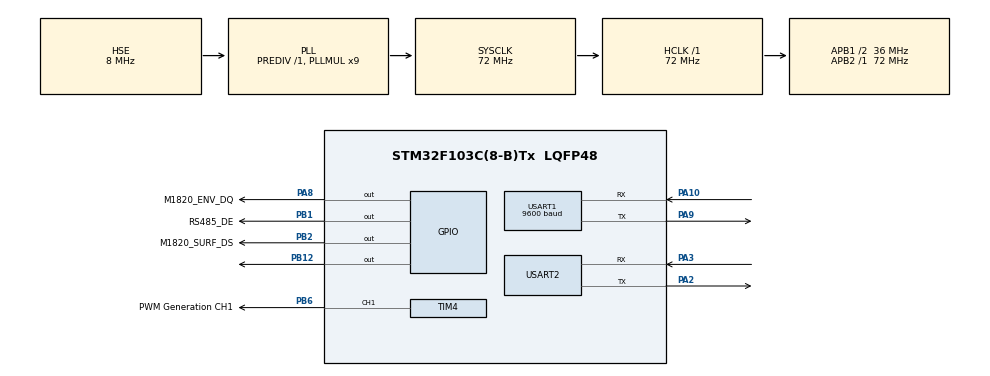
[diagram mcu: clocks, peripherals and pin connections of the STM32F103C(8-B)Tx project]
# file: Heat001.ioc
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Mcu.Family=STM32F1
Mcu.Name=STM32F103C(8-B)Tx
Mcu.Package=LQFP48
NVIC.PriorityGroup=NVIC_PRIORITYGROUP_4
NVIC.TIM2_IRQn=true\:0\:0\:false\:false\:true\:true\:true\:true
NVIC.USART1_IRQn=true\:0\:0\:false\:false\:true\:true\:true\:true
PA10.Mode=Asynchronous
PA10.Signal=USART1_RX
PA13.Mode=Serial_Wire
PA13.Signal=SYS_JTMS-SWDIO
PA14.Mode=Serial_Wire
PA14.Signal=SYS_JTCK-SWCLK
PA2.Mode=Asynchronous
PA2.Signal=USART2_TX
PA3.Mode=Asynchronous
PA3.Signal=USART2_RX
PA8.GPIO_Label=M1820_ENV_DQ
PA8.Signal=GPIO_Output
PA9.Mode=Asynchronous
PA9.Signal=USART1_TX
PB1.GPIO_Label=RS485_DE
PB1.Signal=GPIO_Output
PB12.Signal=GPIO_Output
PB2.GPIO_Label=M1820_SURF_DS
PB2.Signal=GPIO_Output
PB6.GPIO_Label=PWM Generation CH1
PB6.Signal=S_TIM4_CH1
PD0-OSC_IN.Mode=HSE-External-Oscillator
PD0-OSC_IN.Signal=RCC_OSC_IN
PD1-OSC_OUT.Mode=HSE-External-Oscillator
PD1-OSC_OUT.Signal=RCC_OSC_OUT
ProjectManager.HeapSize=0x200
ProjectManager.StackSize=0x400
ProjectManager.TargetToolchain=MDK-ARM V5.32
RCC.AHBFreq_Value=72000000
RCC.APB1CLKDivider=RCC_HCLK_DIV2
RCC.APB1Freq_Value=36000000
RCC.APB1TimFreq_Value=72000000
RCC.APB2Freq_Value=72000000
RCC.APB2TimFreq_Value=72000000
RCC.HCLKFreq_Value=72000000
RCC.PLLMUL=RCC_PLL_MUL9
RCC.PLLSourceVirtual=RCC_PLLSOURCE_HSE
RCC.SYSCLKFreq_VALUE=72000000
RCC.SYSCLKSource=RCC_SYSCLKSOURCE_PLLCLK
RCC.USBFreq_Value=72000000
SH.S_TIM4_CH1.0=TIM4_CH1,PWM Generation1 CH1
TIM2.Prescaler=71
TIM4.Channel-PWM\ Generation1\ CH1=TIM_CHANNEL_1
TIM4.Period=1999
TIM4.Prescaler=71
USART1.BaudRate=9600
USART1.VirtualMode=VM_ASYNC
USART2.VirtualMode=VM_ASYNC
VP_TIM2_VS_ClockSourceINT.Mode=Internal
board=custom

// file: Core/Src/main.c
/* USER CODE BEGIN Header */
/**
  ******************************************************************************
  * @file           : main.c
  * @brief          : Main program body
  ******************************************************************************
  * @attention
  *
  * Copyright (c) 2026 STMicroelectronics.
  * All rights reserved.
  *
  * This software is licensed under terms that can be found in the LICENSE file
  * in the root directory of this software component.
  * If no LICENSE file comes with this software, it is provided AS-IS.
  *
  ******************************************************************************
  */
/* USER CODE END Header */
#include "main.h"
#include "tim.h"
#include "usart.h"
#include "gpio.h"

/* USER CODE BEGIN Includes */
#include "mb.h"
#include "m1820.h"
#include "mbport.h"
#include "modbus_regs.h"
#include <stdio.h>
/* USER CODE END Includes */

/* USER CODE BEGIN PV */
uint8_t g_surf_raw_buf[9] = {0};
uint8_t g_env_raw_buf[9]  = {0};

uint16_t g_surf_debug_enter = 0;   /* 第二路代码进入次数 */
uint16_t g_surf_debug_ok    = 0;   /* 第二路读取成功次数 */
uint16_t g_env_debug_enter  = 0;   /* 第一路代码进入次数 */
uint16_t g_env_debug_ok     = 0;   /* 第一路读取成功次数 */
/* USER CODE END PV */

void SystemClock_Config(void);

/* USER CODE BEGIN 0 */

/* printf 重定向到 USART2（串口2） */
int fputc(int ch, FILE *f)
{
    HAL_UART_Transmit(&huart2, (uint8_t *)&ch, 1, 100);
    return ch;
}
static void Debug_PrintStatus(void)
{
    char tx_buf[128];
    int len;

    len = snprintf(tx_buf, sizeof(tx_buf),
                   "%u,  %d,  %d,  %d,  %d,  %u\r\n",
                   (unsigned int)(HAL_GetTick() / 1000U),
                   (int)(g_env_temp_real * 100.0f),
                   (int)(g_surf_temp_real * 100.0f),
                   (int)(g_pwm_duty_real * 100.0f),
                   (int)(g_heat_out_volt * 100.0f),
                   (unsigned int)g_ctrl_mode_set);

    if (len > 0)
    {
        HAL_UART_Transmit(&huart2, (uint8_t *)tx_buf, (uint16_t)len, 50);
    }
}
/* 浮点限幅函数 */
static float LimitFloat(float value, float min_val, float max_val)
{
    if (value < min_val)
    {
        return min_val;
    }
    if (value > max_val)
    {
        return max_val;
    }
    return value;
}

/* =========================================================
 * 设置加热 PWM 占空比
 * duty_percent（PWM占空比百分比）范围：0~100
 *
 * 当前硬件：
 * - TIM4（定时器4）
 * - TIM_CHANNEL_1（定时器4通道1）
 * - PB6（PWM输出脚）
 *
 * 当前 TIM4 配置：
 * - ARR（自动重装值）= 1999
 * 所以比较值 CCR 范围大致也是 0~1999
 * ========================================================= */
static void Heat_SetPwmDuty(float duty_percent)
{
    uint32_t arr;
    uint32_t compare;

    duty_percent = LimitFloat(duty_percent, 0.0f, 100.0f);

    /* 读取 TIM4 的 ARR（自动重装值） */
    arr = __HAL_TIM_GET_AUTORELOAD(&htim4);

    if (duty_percent <= 0.0f)
    {
        compare = 0;
    }
    else if (duty_percent >= 100.0f)
    {
        compare = arr;
    }
    else
    {
        compare = (uint32_t)((duty_percent * (float)(arr + 1U)) / 100.0f);

        if (compare > arr)
        {
            compare = arr;
        }
    }

    /* 把比较值写入 TIM4_CH1（定时器4通道1） */
    __HAL_TIM_SET_COMPARE(&htim4, TIM_CHANNEL_1, compare);
}

/* =========================================================
 * 控制逻辑任务
 * 说明：
 * 1. 控制模式判断前置
 * 2. 自动模式下才严格依赖探头异常联锁
 * 3. 强制全功率 / 手动PWM 模式下，探头异常仅上报，不强制关断
 * 4. 本版已经把 g_pwm_duty_real（当前实际PWM占空比）
 *    正式下发到 TIM4_CH1（定时器4通道1）硬件输出
 * ========================================================= */
static void Heating_ControlTask(void)
{
    float pwm_cmd = 0.0f;
    float error = 0.0f;

    uint8_t full_power_stage = 0;
    uint8_t regulation_stage = 0;
    uint8_t temp_valid = 0;
    uint8_t output_enable = 0;

    /* -------------------------
     * 1. 先根据当前探头状态判断温度数据是否有效
     * ------------------------- */
    if ((g_env_probe_status == 0U) && (g_surf_probe_status == 0U))
    {
        temp_valid = 1;
    }
    else
    {
        temp_valid = 0;
    }

    /* -------------------------
     * 2. 控制模式判断
     * ------------------------- */
    switch (g_ctrl_mode_set)
    {
        case CTRL_MODE_OFF:   /* 关闭模式 */
        {
            pwm_cmd = 0.0f;
            output_enable = 0;
            break;
        }

        case CTRL_MODE_FORCE_FULL:   /* 强制全功率模式 */
        {
            pwm_cmd = 100.0f;
            output_enable = 1;
            /* 这里只是强制全功率模式，不是自动模式的全功率阶段 */
						full_power_stage = 1;
            break;
        }

        case CTRL_MODE_MANUAL_PWM:   /* 手动PWM模式 */
        {
            pwm_cmd = LimitFloat(g_manual_pwm_set, 0.0f, 100.0f);
            output_enable = (pwm_cmd > 0.0f) ? 1U : 0U;
            break;
        }

        case CTRL_MODE_AUTO:   /* 自动控制模式 */
        default:
        {
            /* 自动模式下，探头异常才参与联锁 */
            if ((g_env_probe_status != 0U) || (g_surf_probe_status != 0U))
            {
                pwm_cmd = 0.0f;
                output_enable = 0;
            }
            else
            {
                /* 环境温度高于等于阈值：不加热 */
                if (g_env_temp_real >= g_env_temp_threshold)
                {
                    pwm_cmd = 0.0f;
                    output_enable = 0;
                }
                else
                {
                    /* 环境温度低于阈值，进入表面温度闭环前的简化控制 */
                    error = g_surf_temp_target - g_surf_temp_real;

                    if (error >= 1.0f)
                    {
                        /* 远低于目标值：全功率快速加热 */
                        pwm_cmd = 100.0f;
                        output_enable = 1;
                        full_power_stage = 1;
                    }
                    else if (error > 0.0f)
                    {
                        /* 接近目标值：简化比例调功 */
                        pwm_cmd =  30.0f + error * 20.0f;   /* 例如差 3℃ -> 30% */
                        pwm_cmd = LimitFloat(pwm_cmd, 0.0f, 100.0f);
                        output_enable = (pwm_cmd > 0.0f) ? 1U : 0U;
                        regulation_stage = (pwm_cmd > 0.0f) ? 1U : 0U;
                    }
                    else
                    {
                        /* 已达到或超过目标值 */
                        pwm_cmd = 0.0f;
                        output_enable = 0;
                    }
                }
            }
            break;
        }
    }

    /* -------------------------
     * 3. 更新运行时实时变量
     * ------------------------- */
    g_pwm_duty_real = LimitFloat(pwm_cmd, 0.0f, 100.0f);
    g_heat_output_status = (g_pwm_duty_real > 0.0f) ? 1U : 0U;

    /* 当前先按 12V 满量程线性估算输出电压 */
    g_heat_out_volt = 12.0f * g_pwm_duty_real / 100.0f;

    /* -------------------------
     * 4. 更新故障字
     * ------------------------- */
    g_fault_word = 0;

    if (g_temp_alarm_en)
    {
        if (g_env_probe_status != 0U)
        {
            g_fault_word |= (1U << 0);   /* ENV_SENSOR_FAULT（环境探头故障） */
        }

        if (g_surf_probe_status != 0U)
        {
            g_fault_word |= (1U << 1);   /* SURFACE_SENSOR_FAULT（表面探头故障） */
        }

        if (!temp_valid)
        {
            g_fault_word |= (1U << 6);   /* TEMP_DATA_INVALID（温度数据无效） */
        }
    }

    /* -------------------------
     * 5. 更新状态字
     * ------------------------- */
    g_status_word = 0;

    g_status_word |= (1U << 0);   /* SYS_RUN（系统运行） */
    g_status_word |= (1U << 6);   /* COMM_OK（通信正常） */

    if (g_ctrl_mode_set == CTRL_MODE_AUTO)
    {
        g_status_word |= (1U << 1);   /* AUTO_MODE（自动控制模式） */
    }

    if (g_ctrl_mode_set == CTRL_MODE_MANUAL_PWM)
    {
        g_status_word |= (1U << 2);   /* MANUAL_PWM_MODE（手动PWM模式） */
    }

    if (full_power_stage)
    {
        g_status_word |= (1U << 3);   /* FULL_POWER_STAGE（全功率阶段） */
    }

    if (regulation_stage)
    {
        g_status_word |= (1U << 4);   /* REGULATION_STAGE（调功阶段） */
    }

    if (g_heat_output_status)
    {
        g_status_word |= (1U << 5);   /* HEAT_OUT（加热输出） */
    }

    if (temp_valid)
    {
        g_status_word |= (1U << 7);   /* TEMP_VALID（温度数据有效） */
    }

    if (g_env_probe_status == 0U)
    {
        g_status_word |= (1U << 8);   /* ENV_SENSOR_ONLINE（环境探头在线） */
    }

    if (g_surf_probe_status == 0U)
    {
        g_status_word |= (1U << 9);   /* SURFACE_SENSOR_ONLINE（表面探头在线） */
    }

    if (output_enable)
    {
        g_status_word |= (1U << 11);  /* OUTPUT_ENABLE（输出允许） */
    }

    /* -------------------------
     * 6. 把 PWM 真正下发到 TIM4_CH1 硬件输出
     * ------------------------- */
    Heat_SetPwmDuty(g_pwm_duty_real);
}

/* USER CODE END 0 */

int main(void)
{

  /* MCU Configuration--------------------------------------------------------*/

  /* Reset of all peripherals, Initializes the Flash interface and the Systick. */
  HAL_Init();

  /* Configure the system clock */
  SystemClock_Config();

  /* Initialize all configured peripherals */
  MX_GPIO_Init();
  MX_TIM2_Init();
  MX_TIM4_Init();
  MX_USART1_UART_Init();
  MX_USART2_UART_Init();
  /* USER CODE BEGIN 2 */
  HAL_UART_Transmit(&huart2, (uint8_t *)"BOOT\r\n", 6, 100);
  /* 启动 TIM4_CH1（定时器4通道1）PWM 输出 */
  HAL_TIM_PWM_Start(&htim4, TIM_CHANNEL_1);

  /* 上电先关输出，避免一启动就误输出 */
  Heat_SetPwmDuty(0.0f);

  Modbus_RegsInit();
  M1820_Init();

  if (eMBInit(MB_RTU, 0x0C, 0, 9600, MB_PAR_NONE) == MB_ENOERR)
  {
      eMBEnable();
  }
  /* USER CODE END 2 */

  /* Infinite loop */
  while (1)
  {

    /* USER CODE BEGIN 3 */

    static uint32_t wd_tick = 0;
    static uint32_t temp_tick = 0;

    static uint16_t env_fail_streak = 0;   /* 环境探头连续失败次数 */
    static uint16_t surf_fail_streak = 0;  /* 表面探头连续失败次数 */

    float env_temp_value  = 0.0f;
    float surf_temp_value = 0.0f;

    uint8_t env_ok = 0;
    uint8_t surf_ok = 0;

    /* 处理 Modbus 协议轮询 */
    eMBPoll();

    /* 处理 Modbus 命令寄存器 */
    Modbus_CmdProcess();

	/* 处理自动保存任务 */
	Modbus_AutoSaveTask();

    /* 每 1000ms 采集一次两路温度 */
    if (HAL_GetTick() - temp_tick >= 1000)
    {
        temp_tick = HAL_GetTick();

        /* =====================================================
         * 1. 读取环境温度（PA8，对应 M1820 格式）
         * ===================================================== */
        g_env_debug_enter++;

        env_ok = M1820_ReadTemperature(&g_m1820_env, &env_temp_value);

        if (!env_ok)
        {
            HAL_Delay(10);
            env_ok = M1820_ReadTemperature(&g_m1820_env, &env_temp_value);
        }

        if (env_ok)
        {
            g_env_debug_ok++;

            g_env_temp_real = env_temp_value;
            g_env_probe_status = 0;
            env_fail_streak = 0;
        }
        else
        {
            if (g_env_probe_err_cnt < 65535)
            {
                g_env_probe_err_cnt++;
            }

            if (env_fail_streak < 65535)
            {
                env_fail_streak++;
            }

            if (env_fail_streak >= 5)
            {
                g_env_probe_status = 1;
            }
        }

        /* 两路探头之间留一点时间间隔 */
        HAL_Delay(20);

        /* =====================================================
         * 2. 读取表面温度（PB2，对应 DS18B20 兼容格式）
         * ===================================================== */
        g_surf_debug_enter++;

        surf_ok = M1820_ReadTemperature(&g_m1820_surf, &surf_temp_value);

        if (!surf_ok)
        {
            HAL_Delay(10);
            surf_ok = M1820_ReadTemperature(&g_m1820_surf, &surf_temp_value);
        }

        if (surf_ok)
        {
            g_surf_debug_ok++;

            g_surf_temp_real = surf_temp_value;
            g_surf_probe_status = 0;
            surf_fail_streak = 0;
        }
        else
        {
            if (g_surf_probe_err_cnt < 65535)
            {
                g_surf_probe_err_cnt++;
            }

            if (surf_fail_streak < 65535)
            {
                surf_fail_streak++;
            }

            if (surf_fail_streak >= 5)
            {
                g_surf_probe_status = 1;
            }
        }

        /* =====================================================
         * 3. 温度采样完成后，执行一次控制逻辑
         * ===================================================== */
        Heating_ControlTask();
		 /* =====================================================
         * 4. 串口打印当前数据（USART2）
         * 每秒打印一次
         * ===================================================== */
		Debug_PrintStatus();

    }

    /* =====================================================
     * 非阻塞喂狗
     * 每 100ms 翻转一次 PB12
     * ===================================================== */
    if (HAL_GetTick() - wd_tick >= 100)
    {
        wd_tick = HAL_GetTick();
        HAL_GPIO_TogglePin(GPIOB, GPIO_PIN_12);
    }
}

  /* USER CODE END 3 */
}

void SystemClock_Config(void)
{
  RCC_OscInitTypeDef RCC_OscInitStruct = {0};
  RCC_ClkInitTypeDef RCC_ClkInitStruct = {0};

  /** Initializes the RCC Oscillators according to the specified parameters
  * in the RCC_OscInitTypeDef structure.
  */
  RCC_OscInitStruct.OscillatorType = RCC_OSCILLATORTYPE_HSE;
  RCC_OscInitStruct.HSEState = RCC_HSE_ON;
  RCC_OscInitStruct.HSEPredivValue = RCC_HSE_PREDIV_DIV1;
  RCC_OscInitStruct.HSIState = RCC_HSI_ON;
  RCC_OscInitStruct.PLL.PLLState = RCC_PLL_ON;
  RCC_OscInitStruct.PLL.PLLSource = RCC_PLLSOURCE_HSE;
  RCC_OscInitStruct.PLL.PLLMUL = RCC_PLL_MUL9;
  if (HAL_RCC_OscConfig(&RCC_OscInitStruct) != HAL_OK)
  {
    Error_Handler();
  }

  /** Initializes the CPU, AHB and APB buses clocks
  */
  RCC_ClkInitStruct.ClockType = RCC_CLOCKTYPE_HCLK|RCC_CLOCKTYPE_SYSCLK
                              |RCC_CLOCKTYPE_PCLK1|RCC_CLOCKTYPE_PCLK2;
  RCC_ClkInitStruct.SYSCLKSource = RCC_SYSCLKSOURCE_PLLCLK;
  RCC_ClkInitStruct.AHBCLKDivider = RCC_SYSCLK_DIV1;
  RCC_ClkInitStruct.APB1CLKDivider = RCC_HCLK_DIV2;
  RCC_ClkInitStruct.APB2CLKDivider = RCC_HCLK_DIV1;

  if (HAL_RCC_ClockConfig(&RCC_ClkInitStruct, FLASH_LATENCY_2) != HAL_OK)
  {
    Error_Handler();
  }
}

void Error_Handler(void)
{
  __disable_irq();
  while (1)
  {
  }
}
